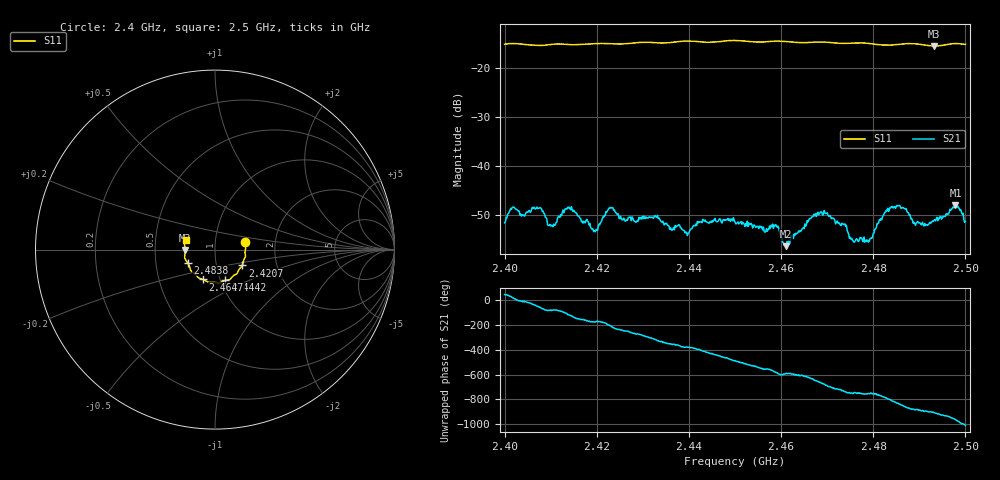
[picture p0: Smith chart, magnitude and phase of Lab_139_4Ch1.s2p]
# Hz S RI R 50
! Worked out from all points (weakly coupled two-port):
!   601 points, 2.4 GHz to 2.5 GHz, reference 50 ohm
!   highest |S21| = -48.03 dB at 2.4978 GHz (marker M1); lowest = -56.3 dB at 2.461 GHz (marker M2)
!   lowest |S11| = -15.6 dB at 2.4932 GHz (marker M3), VSWR 1.40, Z = 35.8 - j0.152 ohm
!   |S11| at or under -10 dB: start of sweep to end of sweep
!   S12 and S22 are empty: the file has one direction only
!   S11 on the Smith chart (normalised r, x): 2.4 GHz: 1.40, +0.11; 2.4207 GHz: 1.33, -0.24; 2.4442 GHz: 1.05, -0.37; 2.4647 GHz: 0.83, -0.29; 2.4838 GHz: 0.73, -0.11; 2.5 GHz: 0.71, +0.08
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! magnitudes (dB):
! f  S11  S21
! 2.4 GHz  -15.2  -51.6
! 2.4018 GHz  -15.1  -48.4
! 2.4075 GHz  -15.5  -48.6
! 2.41 GHz  -15.3  -52.2
! 2.4137 GHz  -15.3  -48.4
! 2.4167 GHz  -15.3  -51.4
! 2.4207 GHz  -15.1  -51.9
! 2.423 GHz  -15.1  -48.4
! 2.4333 GHz  -15.0  -50.7
! 2.4395 GHz  -14.6  -53.6
! 2.4442 GHz  -14.9  -51.5
! 2.45 GHz  -14.5  -51.4
! 2.459 GHz  -14.6  -52.2
! 2.461 GHz  -14.7  -56.3
! 2.4647 GHz  -14.9  -52.7
! 2.4667 GHz  -14.9  -50.4
! 2.4787 GHz  -15.1  -55.4
! 2.4833 GHz  -15.4  -49.3
! 2.4838 GHz  -15.4  -48.5
! 2.4932 GHz  -15.6  -51.1
! 2.4978 GHz  -15.1  -48.0
! 2.5 GHz  -15.3  -51.3
